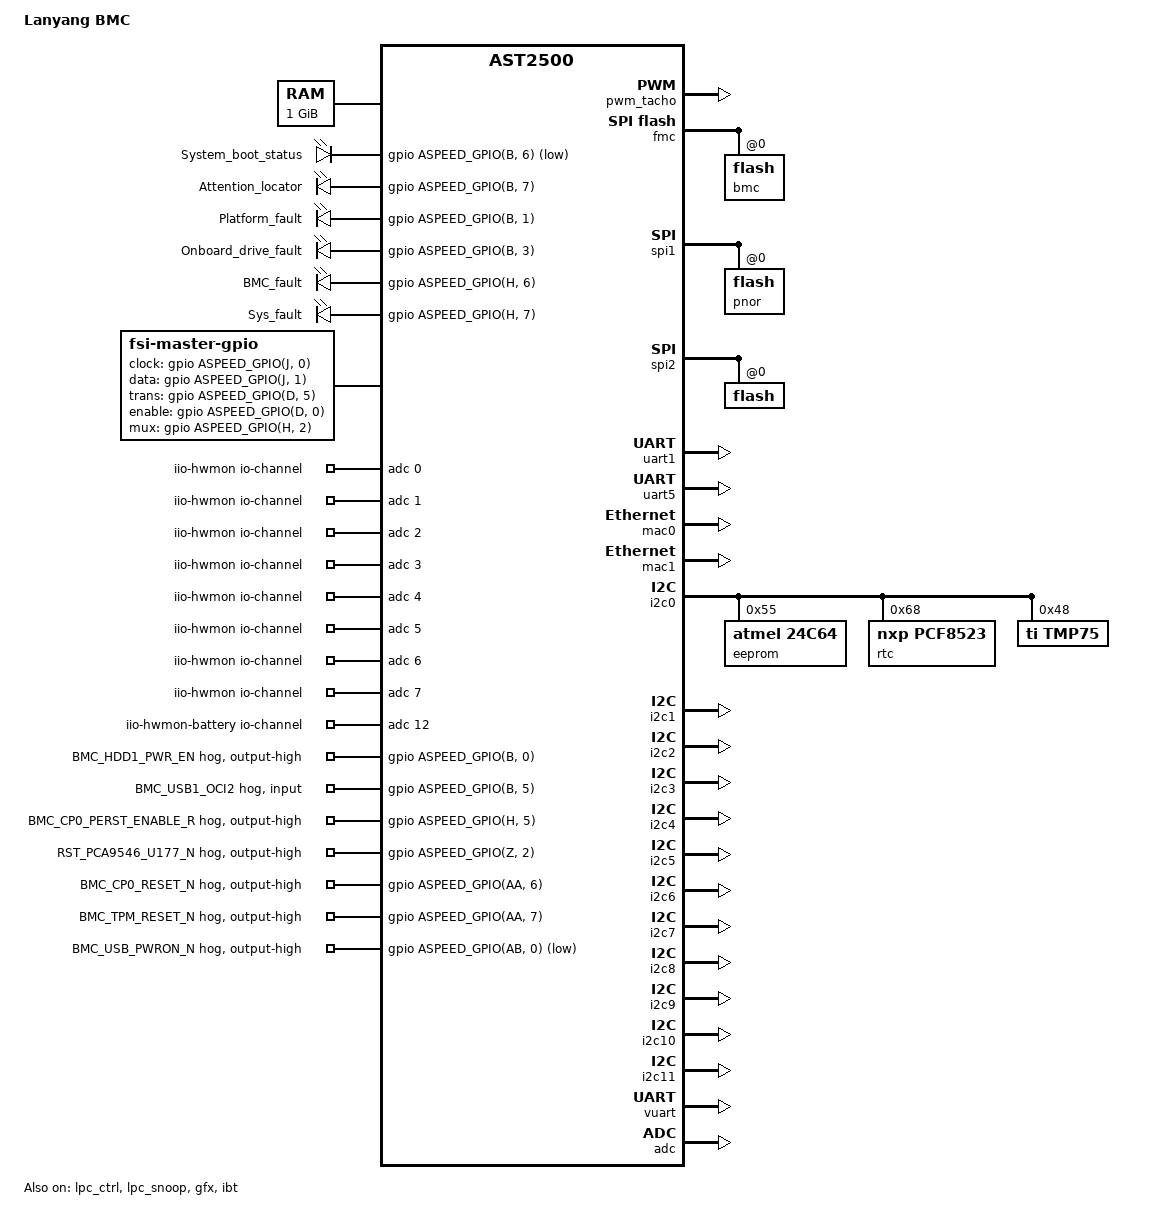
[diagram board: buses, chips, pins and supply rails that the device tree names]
// SPDX-License-Identifier: GPL-2.0+
// Copyright (c) 2018 Inventec Corporation
/dts-v1/;

#include "aspeed-g5.dtsi"
#include <dt-bindings/gpio/aspeed-gpio.h>

/ {
	model = "Lanyang BMC";
	compatible = "inventec,lanyang-bmc", "aspeed,ast2500";

	chosen {
		stdout-path = &uart5;
		bootargs = "console=ttyS4,115200 earlycon";
	};

	memory@80000000 {
		reg = <0x80000000 0x40000000>;
	};

	reserved-memory {
		#address-cells = <1>;
		#size-cells = <1>;
		ranges;

		flash_memory: region@98000000 {
			no-map;
			reg = <0x98000000 0x04000000>; /* 64M */
		};
	};

	leds {
		compatible = "gpio-leds";

		sys_boot_status {
			label = "System_boot_status";
			gpios = <&gpio ASPEED_GPIO(B, 6) GPIO_ACTIVE_LOW>;
		};

		attention {
			label = "Attention_locator";
			gpios = <&gpio ASPEED_GPIO(B, 7) GPIO_ACTIVE_HIGH>;
		};

		plt_fault {
			label = "Platform_fault";
			gpios = <&gpio ASPEED_GPIO(B, 1) GPIO_ACTIVE_HIGH>;
		};

		hdd_fault {
			label = "Onboard_drive_fault";
			gpios = <&gpio ASPEED_GPIO(B, 3) GPIO_ACTIVE_HIGH>;
		};
		bmc_err {
			label = "BMC_fault";
			gpios = <&gpio ASPEED_GPIO(H, 6) GPIO_ACTIVE_HIGH>;
		};

		sys_err {
			label = "Sys_fault";
			gpios = <&gpio ASPEED_GPIO(H, 7) GPIO_ACTIVE_HIGH>;
		};
	};

	fsi: gpio-fsi {
		compatible = "fsi-master-gpio";
		#address-cells = <2>;
		#size-cells = <0>;

		clock-gpios = <&gpio ASPEED_GPIO(J, 0) GPIO_ACTIVE_HIGH>;
		data-gpios = <&gpio ASPEED_GPIO(J, 1) GPIO_ACTIVE_HIGH>;
		trans-gpios = <&gpio ASPEED_GPIO(D, 5) GPIO_ACTIVE_HIGH>;
		enable-gpios = <&gpio ASPEED_GPIO(D, 0) GPIO_ACTIVE_HIGH>;
		mux-gpios = <&gpio ASPEED_GPIO(H, 2) GPIO_ACTIVE_HIGH>;
	};

	iio-hwmon {
		compatible = "iio-hwmon";
		io-channels = <&adc 0>, <&adc 1>, <&adc 2>, <&adc 3>,
			<&adc 4>, <&adc 5>, <&adc 6>, <&adc 7>,
			<&adc 8>, <&adc 9>, <&adc 10>, <&adc 11>,
			<&adc 13>, <&adc 14>, <&adc 15>;
	};

	iio-hwmon-battery {
		compatible = "iio-hwmon";
		io-channels = <&adc 12>;
	};
};

&pwm_tacho {
	status = "okay";
	pinctrl-names = "default";
	pinctrl-0 = <&pinctrl_pwm0_default &pinctrl_pwm1_default
		&pinctrl_pwm2_default &pinctrl_pwm3_default>;

	fan@0 {
		reg = <0x00>;
		aspeed,fan-tach-ch = /bits/ 8 <0x00>;
	};

	fan@1 {
		reg = <0x01>;
		aspeed,fan-tach-ch = /bits/ 8 <0x01>;
	};

	fan@2 {
		reg = <0x02>;
		aspeed,fan-tach-ch = /bits/ 8 <0x02>;
	};

	fan@3 {
		reg = <0x03>;
		aspeed,fan-tach-ch = /bits/ 8 <0x03>;
	};
};

&fmc {
	status = "okay";
	flash@0 {
		status = "okay";
		m25p,fast-read;
		label = "bmc";
#include "openbmc-flash-layout.dtsi"
	};
};

&spi1 {
	status = "okay";
	pinctrl-names = "default";
	pinctrl-0 = <&pinctrl_spi1_default>;

	flash@0 {
		status = "okay";
		label = "pnor";
		m25p,fast-read;
	};
};

&spi2 {
	status = "okay";
	pinctrl-names = "default";
	pinctrl-0 = <&pinctrl_spi2ck_default
		     &pinctrl_spi2cs0_default
		     &pinctrl_spi2cs1_default
		     &pinctrl_spi2miso_default
		     &pinctrl_spi2mosi_default>;

	flash@0 {
		status = "okay";
	};
};

&uart1 {
	status = "okay";
	pinctrl-names = "default";
	pinctrl-0 = <&pinctrl_txd1_default
		     &pinctrl_rxd1_default>;
};

&lpc_ctrl {
	status = "okay";
	memory-region = <&flash_memory>;
	flash = <&spi1>;
};

&lpc_snoop {
	status = "okay";
	snoop-ports = <0x80>;
};

&uart5 {
	status = "okay";
};

&mac0 {
	status = "okay";

	pinctrl-names = "default";
	pinctrl-0 = <&pinctrl_rmii1_default>;
	clocks = <&syscon ASPEED_CLK_GATE_MAC1CLK>,
		 <&syscon ASPEED_CLK_MAC1RCLK>;
	clock-names = "MACCLK", "RCLK";
	use-ncsi;
};

&mac1 {
	status = "okay";

	pinctrl-names = "default";
	pinctrl-0 = <&pinctrl_rgmii2_default &pinctrl_mdio2_default>;
};

&i2c0 {
	status = "okay";

	eeprom@55 {
		compatible = "atmel,24c64";
		reg = <0x55>;
		pagesize = <32>;
	};

	rtc@68 {
		compatible = "nxp,pcf8523";
		reg = <0x68>;
	};

	tmp75@48 {
		compatible = "ti,tmp75";
		reg = <0x48>;
	};
};

&i2c1 {
	status = "okay";
};

&i2c2 {
	status = "okay";
};

&i2c3 {
	status = "okay";
};

&i2c4 {
	status = "okay";
};

&i2c5 {
	status = "okay";
};

&i2c6 {
	status = "okay";
};

&i2c7 {
	status = "okay";
};

&i2c8 {
	status = "okay";
};

&i2c9 {
	status = "okay";
};

&i2c10 {
	status = "okay";
};

&i2c11 {
	status = "okay";
};

&vuart {
	status = "okay";
};

&gfx {
	status = "okay";
};

&gpio {
	pin-gpio-b0-hog {
		gpio-hog;
		gpios = <ASPEED_GPIO(B, 0) GPIO_ACTIVE_HIGH>;
		output-high;
		line-name = "BMC_HDD1_PWR_EN";
	};

	pin-gpio-b5-hog {
		gpio-hog;
		gpios = <ASPEED_GPIO(B, 5) GPIO_ACTIVE_HIGH>;
		input;
		line-name = "BMC_USB1_OCI2";
	};

	pin-gpio-h5-hog {
		gpio-hog;
		gpios = <ASPEED_GPIO(H, 5) GPIO_ACTIVE_HIGH>;
		output-high;
		line-name = "BMC_CP0_PERST_ENABLE_R";
	};

	pin-gpio-z2-hog {
		gpio-hog;
		gpios = <ASPEED_GPIO(Z, 2) GPIO_ACTIVE_HIGH>;
		output-high;
		line-name = "RST_PCA9546_U177_N";
	};

	pin-gpio-aa6-hog {
		gpio-hog;
		gpios = <ASPEED_GPIO(AA, 6) GPIO_ACTIVE_HIGH>;
		output-high;
		line-name = "BMC_CP0_RESET_N";
	};

	pin-gpio-aa7-hog {
		gpio-hog;
		gpios = <ASPEED_GPIO(AA, 7) GPIO_ACTIVE_HIGH>;
		output-high;
		line-name = "BMC_TPM_RESET_N";
	};

	pin-gpio-ab0-hog {
		gpio-hog;
		gpios = <ASPEED_GPIO(AB, 0) GPIO_ACTIVE_LOW>;
		output-high;
		line-name = "BMC_USB_PWRON_N";
	};
};

&ibt {
	status = "okay";
};

&adc {
	status = "okay";
};

#include "ibm-power9-dual.dtsi"
